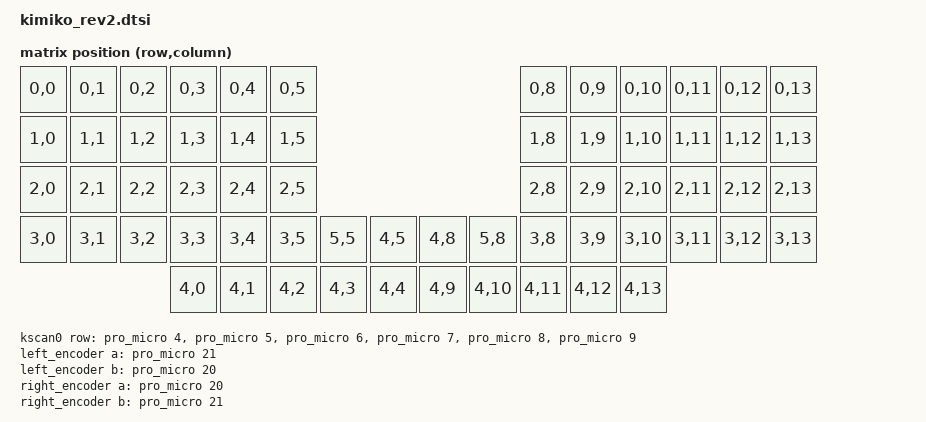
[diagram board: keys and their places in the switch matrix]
#include <dt-bindings/zmk/matrix_transform.h>

#include "kimiko_rev2-layouts.dtsi"

&keycapsss_kimiko_layout {
    transform = <&default_transform>;
};

/ {
    chosen {
        zmk,kscan = &kscan0;
        zmk,matrix_transform = &default_transform;
        zmk,physical-layout = &keycapsss_kimiko_layout;
        //zephyr,display = &oled;
        zephyr,display = &nice_view;
    };

    default_transform: keymap_transform_0 {
        compatible = "zmk,matrix-transform";
        columns = <16>;
        rows = <5>;
// | SW6  | SW5  | SW4  | SW3  | SW2  | SW1  |                             | SW1  | SW2  | SW3  | SW4  | SW5  | SW6  |
// | SW12 | SW11 | SW10 | SW9  | SW8  | SW7  |                             | SW7  | SW8  | SW9  | SW10 | SW11 | SW12 |
// | SW18 | SW17 | SW16 | SW15 | SW14 | SW13 |                             | SW13 | SW14 | SW15 | SW16 | SW17 | SW18 |
// | SW24 | SW23 | SW22 | SW21 | SW20 | SW19 | SW25 | SW26 | | SW26 | SW25 | SW19 | SW20 | SW21 | SW22 | SW23 | SW24 |
//                      | SW31 | SW30 | SW29 | SW28 | SW27 | | SW27 | SW28 | SW29 | SW30 | SW31 |
        map = <
RC(0,0) RC(0,1) RC(0,2) RC(0,3) RC(0,4) RC(0,5)                                  RC(0,8)  RC(0,9)  RC(0,10) RC(0,11) RC(0,12) RC(0,13)
RC(1,0) RC(1,1) RC(1,2) RC(1,3) RC(1,4) RC(1,5)                                  RC(1,8)  RC(1,9)  RC(1,10) RC(1,11) RC(1,12) RC(1,13)
RC(2,0) RC(2,1) RC(2,2) RC(2,3) RC(2,4) RC(2,5)                                  RC(2,8)  RC(2,9)  RC(2,10) RC(2,11) RC(2,12) RC(2,13)
RC(3,0) RC(3,1) RC(3,2) RC(3,3) RC(3,4) RC(3,5) RC(5,5) RC(4,5) RC(4,8) RC(5,8)  RC(3,8)  RC(3,9)  RC(3,10) RC(3,11) RC(3,12) RC(3,13)
                        RC(4,0) RC(4,1) RC(4,2) RC(4,3) RC(4,4) RC(4,9) RC(4,10) RC(4,11) RC(4,12) RC(4,13)
        >;
    };

        kscan0: kscan {
        compatible = "zmk,kscan-gpio-matrix";
        diode-direction = "col2row";
        row-gpios = <&pro_micro 4 (GPIO_ACTIVE_HIGH | GPIO_PULL_DOWN)> // Row 0 from PCB
                  , <&pro_micro 5 (GPIO_ACTIVE_HIGH | GPIO_PULL_DOWN)> // Row 1 from PCB
                  , <&pro_micro 6 (GPIO_ACTIVE_HIGH | GPIO_PULL_DOWN)> // Row 2 from PCB
                  , <&pro_micro 7 (GPIO_ACTIVE_HIGH | GPIO_PULL_DOWN)> // Row 3 from PCB
                  , <&pro_micro 8 (GPIO_ACTIVE_HIGH | GPIO_PULL_DOWN)> // Row 4 from PCB
                  , <&pro_micro 9 (GPIO_ACTIVE_HIGH | GPIO_PULL_DOWN)> // Row 5 from PCB
                ;
    };

    left_encoder: encoder_left {
        compatible = "alps,ec11";
        a-gpios = <&pro_micro 21 (GPIO_ACTIVE_HIGH | GPIO_PULL_UP)>;
        b-gpios = <&pro_micro 20 (GPIO_ACTIVE_HIGH | GPIO_PULL_UP)>;
        steps = <80>;
        status = "disabled";
    };

    right_encoder: encoder_right {
        compatible = "alps,ec11";
        a-gpios = <&pro_micro 20 (GPIO_ACTIVE_HIGH | GPIO_PULL_UP)>;
        b-gpios = <&pro_micro 21 (GPIO_ACTIVE_HIGH | GPIO_PULL_UP)>;
        steps = <80>;
        status = "disabled";
    };

    sensors: sensors {
        compatible = "zmk,keymap-sensors";
        sensors = <&left_encoder &right_encoder>;
        triggers-per-rotation = <20>;
    };
};                                     

/*
&pro_micro_i2c {
    status = "okay";

    oled: ssd1306@3c {
        compatible = "solomon,ssd1306fb";
        reg = <0x3c>;
        width = <128>;
        height = <32>;
        segment-offset = <0>;
        page-offset = <0>;
        display-offset = <0>;
        multiplex-ratio = <31>;
        segment-remap;
        com-invdir;
        com-sequential;
        inversion-on;
        prechargep = <0x22>;
    };
};
*/


&pinctrl {
    nice_view_spi_default: nice_view_spi_default {
        group1 {
            psels = <NRF_PSEL(SPIM_SCK, 0, 3)>,
                    <NRF_PSEL(SPIM_MOSI, 0, 2)>;
        };
    };
    nice_view_spi_sleep: nice_view_spi_sleep {
        group1 {
            psels = <NRF_PSEL(SPIM_SCK, 0, 3)>,
                    <NRF_PSEL(SPIM_MOSI, 0, 2)>;
            low-power-enable;
        };
    };
};

nice_view_spi: &nice_view_spi {
    pinctrl-0 = <&nice_view_spi_default>;
    pinctrl-1 = <&nice_view_spi_sleep>;
    pinctrl-names = "default", "sleep";
    cs-gpios = <&pro_micro 1 GPIO_ACTIVE_HIGH>;
};

/*
&pinctrl {
    spi0_default: spi0_default {
        group1 {
            psels = <NRF_PSEL(SPIM_SCK, 0, 20)>,
                <NRF_PSEL(SPIM_MOSI, 0, 17)>,
                <NRF_PSEL(SPIM_MISO, 0, 25)>;
        };
    };
    spi0_sleep: spi0_sleep {
        group1 {
            psels = <NRF_PSEL(SPIM_SCK, 0, 20)>,
                <NRF_PSEL(SPIM_MOSI, 0, 17)>,
                <NRF_PSEL(SPIM_MISO, 0, 25)>;
            low-power-enable;
        };
    };
};

nice_view_spi: &spi0 {
    compatible = "nordic,nrf-spim";
    pinctrl-0 = <&spi0_default>;
    pinctrl-1 = <&spi0_sleep>;
    pinctrl-names = "default", "sleep";
    cs-gpios = <&pro_micro 4 GPIO_ACTIVE_HIGH>;
};

&pro_micro_i2c {
    status = "disabled";
};
*/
